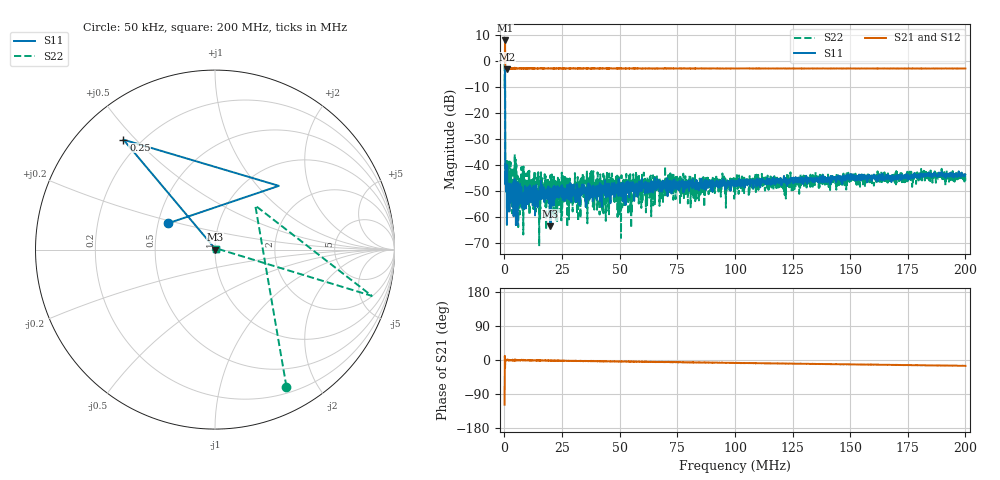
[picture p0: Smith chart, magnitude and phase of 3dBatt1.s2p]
! 19-Feb-26 1:32:23 PM
! E:\VNA_MEASUREMENTS\RECBLOCK\3DBATT1.S2P
! CHANNEL.1
! TR.MEASUREMENT
! CORRECTED.DATA
# GHZ S RI R 50.0
! FREQ.GHZ  S11RE  S11IM  S21RE  S21IM  S12RE  S12IM  S22RE  S22IM
!; PortSelection: Port_12
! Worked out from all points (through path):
!   2000 points, 50 kHz to 200 MHz, reference 50 ohm
!   highest |S21| = 7.74 dB at 250 kHz (marker M1); lowest = -3.4 dB at 1.05 MHz (marker M2)
!   lowest |S11| = -63.6 dB at 19.95 MHz (marker M3), VSWR 1.00, Z = 50 + j0.0456 ohm
!   |S11| at or under -10 dB: start of sweep to 59.07 kHz; 267.7 kHz to end of sweep
!   |S22| runs from -71.2 to -0.8 dB; largest |S21 - S12| = 2.2
!   S11 on the Smith chart (normalised r, x): 50 kHz: 0.56, +0.18; 250 kHz: 0.14, +0.46; 200 MHz: 1.01, +0.01
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5e-05  -0.2646 0.1454  -0.4728 -0.8917  0.6372 -0.1441  0.398 -0.7635
0.00025005  -0.5104 0.6126  2.278 -0.871  0.3867 0.2414  0.8736 -0.2577
0.00105025  -0.000283 0.000643  0.6775 -0.00742  0.7034 -0.00249  -0.0128 -0.0019
0.001350325  -0.000474 -0.00206  0.7201 0.000836  0.7036 1.09e-05  0.00937 0.00146
0.0016504  0.00366 -0.000123  0.7057 0.00645  0.7128 -0.000171  0.00237 0.00417
0.005651401  0.000698 9.12e-05  0.7016 0.00329  0.7063 -0.00551  0.00118 0.00605
0.01995498  0.000479 0.000455  0.7109 -0.0112  0.7056 -0.017  0.00627 -0.000957
0.0260565  0.00268 0.00111  0.7073 -0.026  0.7103 -0.025  0.00246 0.00125
0.02815703  0.00243 0.00178  0.7074 -0.0241  0.7085 -0.0271  0.00386 0.000121
0.03345835  0.00195 0.00178  0.7122 -0.0276  0.7076 -0.0324  0.00206 -0.00175
0.04456113  0.00264 0.00171  0.709 -0.0437  0.7067 -0.0432  0.00234 0.00199
0.04666166  0.00387 0.00223  0.7016 -0.0487  0.7047 -0.0444  0.00645 0.00226
0.05006251  0.00141 0.00251  0.7109 -0.0437  0.7086 -0.0497  2.27e-05 0.00145
0.05356338  0.00276 0.0018  0.7096 -0.0524  0.7053 -0.0514  0.00236 0.00286
0.05436358  0.00282 0.002  0.7041 -0.0537  0.707 -0.0538  0.00385 0.00182
0.05716428  0.0029 0.00203  0.706 -0.0538  0.707 -0.0544  0.00238 0.00189
0.06196548  0.00344 0.00264  0.7006 -0.0604  0.7047 -0.0597  0.00352 -5e-06
0.06676668  0.00339 0.00235  0.7057 -0.0652  0.7075 -0.0643  0.00384 0.00218
0.100075  0.00368 0.00225  0.7019 -0.0991  0.6988 -0.0953  0.00178 0.00173
0.1333833  0.00374 0.00361  0.6957 -0.1259  0.6954 -0.1289  0.0046 0.00295
0.1666917  0.00459 0.00435  0.6876 -0.1568  0.687 -0.1523  0.00368 0.00338
0.2  0.00488 0.0043  0.6829 -0.1873  0.6792 -0.1859  0.0031 0.00393
